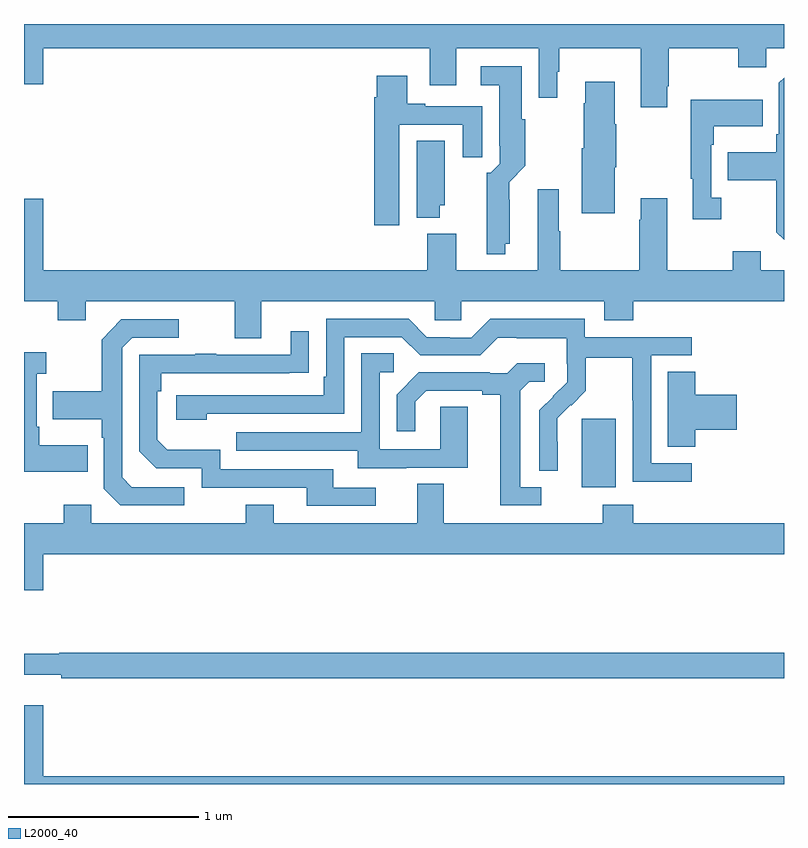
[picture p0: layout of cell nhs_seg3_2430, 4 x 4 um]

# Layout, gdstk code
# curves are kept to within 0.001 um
import gdstk
lib = gdstk.Library(unit=1e-6, precision=1e-09)
def R(c, l, rs):  # rectangles x0, y0, x1, y1
    for r in rs: c.add(gdstk.rectangle(r[:2], r[2:], *l))
def P(c, l, *ps):  # polygons
    for p in ps: c.add(gdstk.Polygon(p, *l))
L2000_40 = (2000, 40)

nhs_seg3_2430 = lib.new_cell('nhs_seg3_2430')
R(nhs_seg3_2430, L2000_40, [(239.936,675.962,240.115,676.323)])
P(nhs_seg3_2430, L2000_40, [(240.385,678.073),(240.393,678.073),(240.393,678.272),(240.76,678.272),(240.76,678.173),(240.906,678.173),(240.906,678.272),(241,678.272),(241,678.4),(237,678.4),(237,678.084),(237.1,678.084),(237.1,678.272),(239.135,678.272),(239.135,678.078),(239.275,678.078),(239.275,678.272),(239.709,678.272),(239.709,678.012),(239.806,678.012),(239.806,678.15),(239.818,678.15),(239.818,678.272),(240.245,678.272),(240.245,677.961),(240.385,677.961)],
  [(239.533,677.244),(239.557,677.244),(239.557,677.474),(239.553,677.474),(239.553,677.568),(239.638,677.653),(239.638,677.898),(239.62,677.898),(239.62,678.178),(239.403,678.178),(239.403,678.077),(239.501,678.077),(239.501,677.758),(239.505,677.758),(239.505,677.664),(239.457,677.616),(239.435,677.616),(239.435,677.189),(239.533,677.189)],
  [(238.975,677.871),(239.309,677.871),(239.309,677.7),(239.412,677.7),(239.412,677.967),(239.113,677.967),(239.113,677.98),(239.017,677.98),(239.017,678.127),(238.856,678.127),(238.856,678.014),(238.844,678.014),(238.844,677.34),(238.975,677.34)],
  [(241,678.118),(240.972,678.09),(240.972,677.821),(240.96,677.821),(240.96,677.725),(240.703,677.725),(240.703,677.578),(240.96,677.578),(240.96,677.305),(241,677.265)],
  [(240.109,677.645),(240.117,677.645),(240.117,677.873),(240.109,677.873),(240.109,678.097),(239.954,678.097),(239.954,677.984),(239.947,677.984),(239.947,677.745),(239.936,677.745),(239.936,677.405),(240.109,677.405)],
  [(240.67,677.486),(240.618,677.486),(240.618,677.765),(240.631,677.765),(240.631,677.861),(240.887,677.861),(240.887,678.001),(240.51,678.001),(240.51,677.585),(240.521,677.585),(240.521,677.373),(240.67,677.373)],
  [(239.188,677.445),(239.215,677.445),(239.215,677.786),(239.066,677.786),(239.066,677.381),(239.188,677.381)],
  [(238.249,676.94),(239.163,676.94),(239.163,676.842),(239.301,676.842),(239.301,676.94),(240.053,676.94),(240.053,676.841),(240.206,676.841),(240.206,676.94),(241,676.94),(241,677.104),(240.877,677.104),(240.877,677.203),(240.73,677.203),(240.73,677.104),(240.385,677.104),(240.385,677.482),(240.245,677.482),(240.245,677.369),(240.238,677.369),(240.238,677.104),(239.823,677.104),(239.823,677.309),(239.815,677.309),(239.815,677.53),(239.705,677.53),(239.705,677.104),(239.275,677.104),(239.275,677.296),(239.123,677.296),(239.123,677.104),(237.1,677.104),(237.1,677.479),(237,677.479),(237,676.94),(237.178,676.94),(237.178,676.841),(237.325,676.841),(237.325,676.94),(238.109,676.94),(238.109,676.746),(238.249,676.746)],
  [(240.514,676.089),(240.3,676.089),(240.3,676.656),(240.514,676.656),(240.514,676.752),(239.952,676.752),(239.952,676.849),(239.455,676.849),(239.355,676.749),(239.24,676.749),(239.24,676.752),(239.121,676.752),(239.025,676.848),(238.59,676.848),(238.59,676.543),(238.577,676.543),(238.577,676.446),(237.801,676.446),(237.801,676.316),(237.962,676.316),(237.962,676.35),(238.686,676.35),(238.686,676.752),(238.989,676.752),(239.085,676.656),(239.4,676.656),(239.493,676.749),(239.593,676.749),(239.593,676.745),(239.856,676.745),(239.856,676.611),(239.858,676.611),(239.858,676.514),(239.712,676.366),(239.712,676.048),(239.808,676.048),(239.807,676.325),(239.877,676.395),(239.88,676.392),(239.957,676.469),(239.957,676.644),(240.202,676.644),(240.202,676.42),(240.204,676.42),(240.204,675.991),(240.514,675.991)],
  [(237.844,675.963),(237.567,675.963),(237.516,676.014),(237.516,676.695),(237.57,676.749),(237.814,676.749),(237.814,676.845),(237.513,676.845),(237.408,676.739),(237.408,676.467),(237.151,676.467),(237.151,676.319),(237.408,676.319),(237.408,676.223),(237.42,676.223),(237.42,675.954),(237.507,675.867),(237.844,675.867)],
  [(238.852,675.96),(238.627,675.96),(238.627,676.056),(238.032,676.056),(238.032,676.159),(237.755,676.159),(237.702,676.212),(237.702,676.466),(237.722,676.466),(237.722,676.563),(238.499,676.564),(238.499,676.783),(238.403,676.783),(238.403,676.659),(238.013,676.659),(238.013,676.664),(237.901,676.664),(237.901,676.659),(237.606,676.659),(237.606,676.152),(237.696,676.062),(237.936,676.062),(237.936,675.96),(238.487,675.96),(238.487,675.864),(238.852,675.864)],
  [(237.335,676.183),(237.079,676.183),(237.079,676.279),(237.066,676.279),(237.066,676.559),(237.118,676.559),(237.118,676.672),(237,676.672),(237,676.043),(237.335,676.043)],
  [(239.011,676.065),(239.335,676.065),(239.335,676.385),(239.19,676.385),(239.19,676.161),(238.872,676.161),(238.872,676.566),(238.945,676.566),(238.945,676.667),(238.776,676.667),(238.776,676.251),(238.117,676.251),(238.117,676.155),(238.757,676.155),(238.757,676.061),(239.011,676.061)],
  [(239.722,675.963),(239.611,675.963),(239.611,676.471),(239.658,676.518),(239.74,676.518),(239.74,676.615),(239.596,676.615),(239.544,676.563),(239.45,676.563),(239.45,676.566),(239.078,676.566),(238.962,676.45),(238.962,676.257),(239.059,676.257),(239.059,676.413),(239.116,676.47),(239.411,676.47),(239.411,676.448),(239.507,676.448),(239.507,675.867),(239.722,675.867)],
  [(240.533,676.265),(240.751,676.265),(240.751,676.448),(240.533,676.448),(240.533,676.571),(240.389,676.571),(240.389,676.174),(240.533,676.174)],
  [(237.1,675.608),(241,675.608),(241,675.772),(240.206,675.772),(240.206,675.871),(240.046,675.871),(240.046,675.772),(239.209,675.772),(239.209,675.98),(239.069,675.98),(239.069,675.772),(238.315,675.772),(238.315,675.871),(238.168,675.871),(238.168,675.772),(237.354,675.772),(237.354,675.871),(237.208,675.871),(237.208,675.772),(237,675.772),(237,675.42),(237.1,675.42)],
  [(241,675.092),(237.185,675.092),(237.185,675.085),(237,675.085),(237,674.975),(237.196,674.975),(237.196,674.956),(241,674.956)],
  [(241,674.44),(237.1,674.44),(237.1,674.815),(237,674.815),(237,674.4),(241,674.4)])

lib.write_gds('nhs_seg3_2430.gds')
